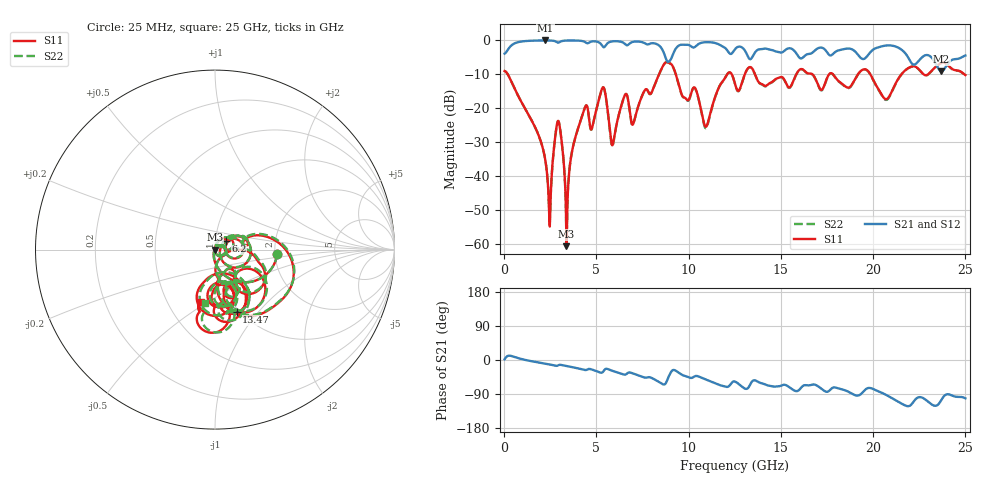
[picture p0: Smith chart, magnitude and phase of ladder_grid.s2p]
! R_s4_lshape_n0: kisi's ladder with the plane pair as a finite cavity (grid) (L-shaped planes (24 × 16 mm minus an 8 × 6 mm corner), via L1 → L4, no return via)
# Hz S RI R 50
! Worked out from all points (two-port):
!   1000 points, 25 MHz to 25 GHz, reference 50 ohm
!   highest |S21| = -0.21 dB at 2.225 GHz (marker M1); lowest = -9.2 dB at 23.7 GHz (marker M2)
!   |S21| within 3 dB of the highest: 166.3 MHz to 8.604 GHz (8.438 GHz wide, 192 % of centre); 9.238 GHz to 12.11 GHz (2.867 GHz wide, 26.9 % of centre) (the widest 2 of 8)
!   lowest |S11| = -60.5 dB at 3.375 GHz (marker M3), VSWR 1.00, Z = 50 - j0.0866 ohm
!   |S11| at or under -10 dB: 179.9 MHz to 8.407 GHz (8.227 GHz wide, 192 % of centre); 9.296 GHz to 12.1 GHz (2.807 GHz wide, 26.2 % of centre); 13.59 GHz to 15.85 GHz (2.259 GHz wide, 15.4 % of centre) (the widest 3 of 9)
!   |S22| runs from -59.9 to -6.5 dB; largest |S21 - S12| = 0
!   S11 on the Smith chart (normalised r, x): 25 MHz: 2.06, -0.11; 6.2 GHz: 1.12, +0.11; 13.47 GHz: 0.97, -0.78; 25 GHz: 0.73, -0.47
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2.5e7  0.3471 -0.0234  0.6258 0.0214  0.6258 0.0214  0.3471 -0.0234
2.225e9  -0.00647 -0.0163  0.9629 -0.1633  0.9629 -0.1633  -0.00648 -0.0163
2.475e9  -0.00133 0.00126  0.9539 -0.2008  0.9539 -0.2008  -0.00151 0.0013
2.95e9  0.0592 -0.0238  0.8844 -0.2134  0.8844 -0.2134  0.0592 -0.0231
3.375e9  -0.000373 -0.000867  0.9355 -0.2694  0.9355 -0.2694  -0.000668 -0.000763
4.2e9  0.0385 0.0617  0.8763 -0.3962  0.8763 -0.3962  0.0371 0.0624
4.775e9  0.0434 0.0289  0.8543 -0.4063  0.8543 -0.4063  0.0424 0.0299
5.35e9  0.2007 -0.00388  0.6745 -0.4167  0.6745 -0.4167  0.2002 0.000257
5.85e9  0.0276 -0.00672  0.8335 -0.448  0.8335 -0.448  0.027 -0.0057
6.2e9  0.0602 0.0475  0.7875 -0.5285  0.7875 -0.5285  0.0583 0.0494
7e9  0.0575 0.0132  0.7569 -0.5478  0.7569 -0.5478  0.0562 0.0153
8.35e9  0.282 0.0735  0.4598 -0.7038  0.4598 -0.7038  0.2789 0.0829
9.1e9  0.2095 -0.3698  0.4978 -0.2674  0.4978 -0.2674  0.22 -0.3625
1.0925e10  0.036 -0.0388  0.5756 -0.719  0.5756 -0.719  0.0358 -0.0356
1.205e10  0.2756 -0.1206  0.2354 -0.6851  0.2354 -0.6851  0.2794 -0.1073
1.2525e10  0.1073 -0.1925  0.398 -0.6174  0.398 -0.6174  0.114 -0.1859
1.3475e10  0.121 -0.3467  0.3299 -0.4684  0.3299 -0.4684  0.1352 -0.3393
1.6675e10  -0.0043 -0.3158  0.2667 -0.5791  0.2667 -0.5791  0.0116 -0.3131
1.9575e10  -0.0133 -0.3682  0.11 -0.5264  0.11 -0.5264  0.00897 -0.3658
2.085e10  0.0565 -0.133  -0.0856 -0.8229  -0.0856 -0.8229  0.0652 -0.1256
2.37e10  0.013 -0.4588  -0.0905 -0.333  -0.0905 -0.333  0.0467 -0.4546
2.5e10  -0.0775 -0.2937  -0.1142 -0.5764  -0.1142 -0.5764  -0.0546 -0.2967
